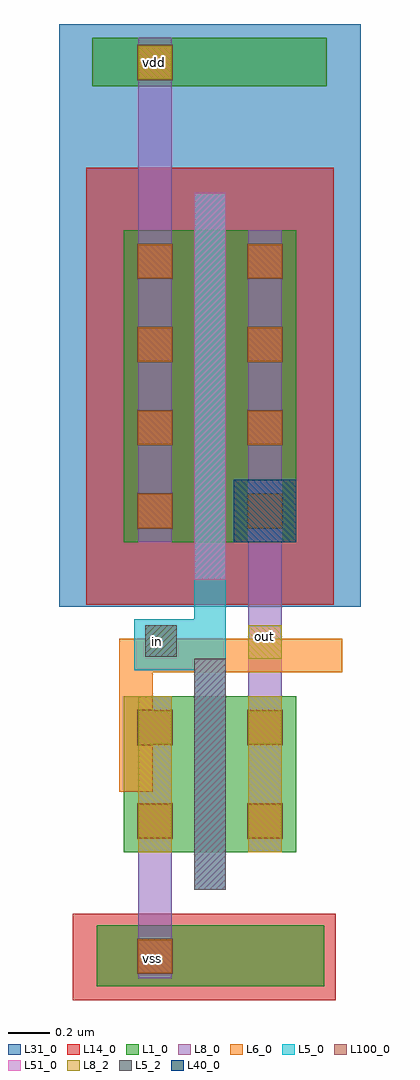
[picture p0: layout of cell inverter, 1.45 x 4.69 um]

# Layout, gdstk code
import gdstk
lib = gdstk.Library(unit=1e-6, precision=5e-09)
def R(c, l, rs):  # rectangles x0, y0, x1, y1
    for r in rs: c.add(gdstk.rectangle(r[:2], r[2:], *l))
def A(c, l, x, y, w, h, nx, ny, dx, dy):  # array of equal rectangles
    R(c, l, [(x+i*dx, y+j*dy, x+i*dx+w, y+j*dy+h) for i in range(nx) for j in range(ny)])
L1_0 = (1, 0)
L5_0 = (5, 0)
L5_2 = (5, 2)
L6_0 = (6, 0)
L8_0 = (8, 0)
L8_2 = (8, 2)
L14_0 = (14, 0)
L31_0 = (31, 0)
L40_0 = (40, 0)
L51_0 = (51, 0)
L100_0 = (100, 0)

nmos = lib.new_cell('nmos')
R(nmos, L1_0, [(0,0,0.3,0.3), (0,0,0.83,0.75), (0.53,0,0.83,0.3)])
R(nmos, L5_0, [(0.34,-0.18,0.49,0.93)])
R(nmos, L5_2, [(0.34,-0.18,0.49,0.93)])
R(nmos, L6_0, [(0.07,0.07,0.23,0.23), (0.6,0.07,0.76,0.23), (0.07,0.52,0.23,0.68), (0.6,0.52,0.76,0.68)])
R(nmos, L8_0, [(0.07,0,0.23,0.75), (0.6,0,0.76,0.75)])
R(nmos, L8_2, [(0.07,0,0.23,0.75), (0.6,0,0.76,0.75)])
R(nmos, L51_0, [(0.34,-0.18,0.49,0.93)])
nmos.add(gdstk.Label('nmos', (0.415,0.375), layer=63, texttype=0))
nmos.add(gdstk.Label('nmos', (0.415,0.375), layer=51, texttype=0))

pmos = lib.new_cell('pmos')
R(pmos, L1_0, [(0,0,0.3,0.3), (0,0,0.83,1.5), (0.53,0,0.83,0.3)])
R(pmos, L5_0, [(0.34,-0.18,0.49,1.68), (0.34,-0.18,0.49,1.68)])
A(pmos, L6_0, 0.07, 0.07, 0.16, 0.16, 1, 4, 0, 0.4)
A(pmos, L6_0, 0.6, 0.07, 0.16, 0.16, 1, 4, 0, 0.4)
R(pmos, L8_0, [(0.07,0,0.23,1.5), (0.07,0,0.23,1.5), (0.6,0,0.76,1.5), (0.6,0,0.76,1.5)])
R(pmos, L14_0, [(-0.18,-0.3,1.01,1.8)])
R(pmos, L31_0, [(-0.31,-0.31,1.14,1.81)])
R(pmos, L40_0, [(0.53,0,0.83,0.3)])
R(pmos, L51_0, [(0.34,-0.18,0.49,1.68)])
pmos.add(gdstk.Label('pmos', (0.415,0.75), layer=63, texttype=0))
pmos.add(gdstk.Label('pmos', (0.415,0.75), layer=51, texttype=0))

inverter = lib.new_cell('inverter')
R(inverter, L1_0, [(-0.745,-1.77,0.35,-1.475), (-0.765,2.555,0.36,2.79)])
R(inverter, L5_0, [(-0.565,-0.25,-0.275,-0.005), (-0.275,-0.195,-0.125,0.185)])
R(inverter, L5_2, [(-0.51,-0.185,-0.36,-0.035)])
R(inverter, L6_0, [(-0.545,-1.705,-0.385,-1.545), (-0.545,-1.705,-0.385,-1.545), (-0.635,-0.835,-0.475,-0.1), (-0.635,-0.8,-0.475,-0.1), (-0.635,-0.59,-0.475,-0.1), (-0.635,-0.26,-0.475,-0.1), (-0.635,-0.26,-0.475,-0.1), (-0.635,-0.26,-0.475,-0.1), (-0.635,-0.26,0.26,-0.1), (-0.635,-0.26,0.26,-0.1), (-0.635,-0.26,0.435,-0.1), (-0.635,-0.26,-0.1,-0.1), (-0.51,-0.185,-0.36,-0.035), (-0.545,2.59,-0.385,2.75)])
R(inverter, L8_0, [(-0.545,-1.73,-0.385,-0.845), (-0.015,-0.375,0.145,0.365), (-0.545,1.865,-0.385,2.79)])
R(inverter, L8_2, [(-0.015,-0.57,0.145,-0.435), (-0.015,-0.195,0.145,-0.035), (-0.545,2.59,-0.385,2.75)])
R(inverter, L14_0, [(-0.86,-1.835,0.405,-1.42)])
R(inverter, L31_0, [(-0.925,2.175,0.525,2.855)])
R(inverter, L100_0, [(-0.55,-1.71,-0.38,-1.54), (-0.55,-1.71,-0.38,-1.54), (-0.55,-1.06,-0.38,-0.89), (-0.55,-1.06,-0.38,-0.89), (-0.02,-1.06,0.15,-0.89), (-0.02,-1.06,0.15,-0.89), (-0.55,-0.61,-0.38,-0.44), (-0.55,-0.61,-0.38,-0.44), (-0.02,-0.61,0.15,-0.44), (-0.02,-0.61,0.15,-0.44), (-0.55,0.43,-0.38,0.6), (-0.55,0.43,-0.38,0.6), (-0.02,0.43,0.15,0.6), (-0.02,0.43,0.15,0.6), (-0.55,0.83,-0.38,1), (-0.55,0.83,-0.38,1), (-0.02,0.83,0.15,1), (-0.02,0.83,0.15,1), (-0.55,1.23,-0.38,1.4), (-0.55,1.23,-0.38,1.4), (-0.02,1.23,0.15,1.4), (-0.02,1.23,0.15,1.4), (-0.55,1.63,-0.38,1.8), (-0.55,1.63,-0.38,1.8), (-0.02,1.63,0.15,1.8), (-0.02,1.63,0.15,1.8), (-0.55,2.585,-0.38,2.755), (-0.55,2.585,-0.38,2.755)])
inverter.add(gdstk.Reference(nmos, (-0.615,-1.125)))
inverter.add(gdstk.Reference(pmos, (-0.615,0.365)))
inverter.add(gdstk.Label('out', (0.06,-0.09), layer=8, texttype=2))
inverter.add(gdstk.Label('vss', (-0.475,-1.635), layer=8, texttype=2))
inverter.add(gdstk.Label('vdd', (-0.465,2.67), layer=8, texttype=2))
inverter.add(gdstk.Label('in', (-0.45,-0.11), layer=5, texttype=2))

lib.write_gds('inverter.gds')
